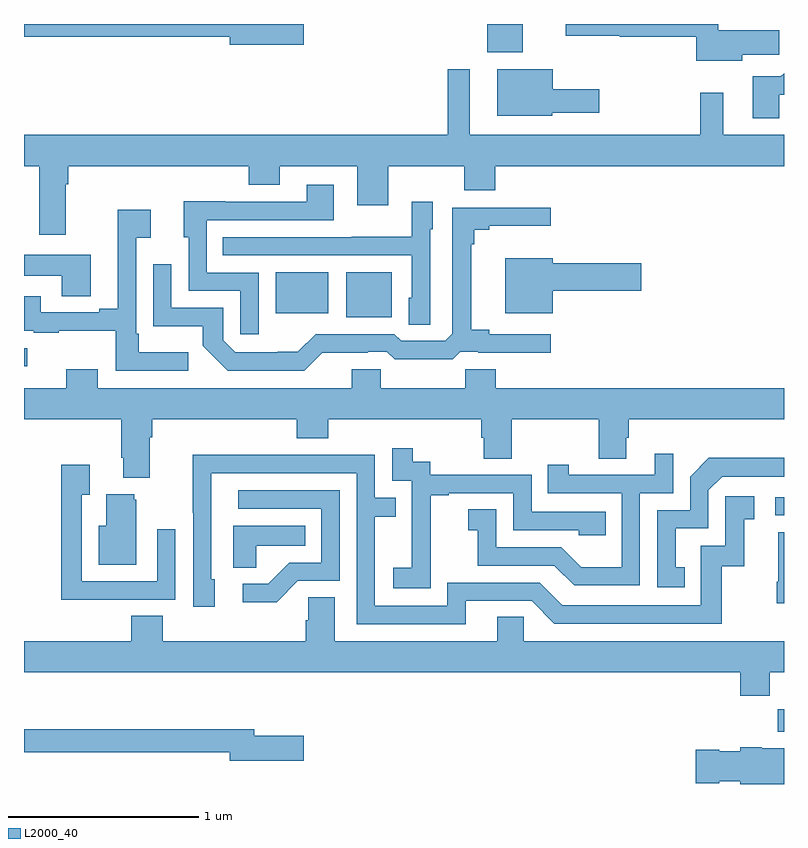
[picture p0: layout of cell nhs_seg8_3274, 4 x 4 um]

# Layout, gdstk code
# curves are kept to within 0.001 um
import gdstk
lib = gdstk.Library(unit=1e-6, precision=1e-09)
def R(c, l, rs):  # rectangles x0, y0, x1, y1
    for r in rs: c.add(gdstk.rectangle(r[:2], r[2:], *l))
def P(c, l, *ps):  # polygons
    for p in ps: c.add(gdstk.Polygon(p, *l))
L2000_40 = (2000, 40)

nhs_seg8_3274 = lib.new_cell('nhs_seg8_3274')
R(nhs_seg8_3274, L2000_40, [(316.966,1128.176,317,1128.294), (316.953,1129.314,317,1129.41), (313,1130.099,313.018,1130.193), (314.696,1130.357,314.935,1130.593), (314.324,1130.378,314.602,1130.593), (315.438,1131.752,315.624,1131.9)])
P(nhs_seg8_3274, L2000_40, [(316.78,1131.739),(316.975,1131.739),(316.975,1131.868),(316.654,1131.868),(316.654,1131.9),(315.852,1131.9),(315.852,1131.839),(316.136,1131.839),(316.136,1131.832),(316.537,1131.832),(316.537,1131.707),(316.78,1131.707)],
  [(314.473,1131.9),(313,1131.9),(313,1131.832),(314.084,1131.832),(314.084,1131.79),(314.473,1131.79)],
  [(313.219,1131.056),(313.232,1131.056),(313.232,1131.152),(314.183,1131.152),(314.183,1131.053),(314.347,1131.053),(314.347,1131.152),(314.753,1131.152),(314.753,1130.946),(314.917,1130.946),(314.917,1131.152),(315.317,1131.152),(315.317,1131.024),(315.481,1131.024),(315.481,1131.152),(317,1131.152),(317,1131.316),(316.681,1131.316),(316.681,1131.538),(316.56,1131.538),(316.56,1131.316),(315.346,1131.316),(315.346,1131.661),(315.229,1131.661),(315.229,1131.316),(313,1131.316),(313,1131.152),(313.079,1131.152),(313.079,1130.79),(313.219,1130.79)],
  [(315.78,1131.434),(316.027,1131.434),(316.027,1131.556),(315.784,1131.556),(315.784,1131.661),(315.491,1131.661),(315.491,1131.416),(315.78,1131.416)],
  [(316.975,1131.527),(317,1131.527),(317,1131.641),(316.984,1131.625),(316.835,1131.625),(316.835,1131.405),(316.975,1131.405)],
  [(314.235,1130.592),(313.962,1130.592),(313.962,1130.868),(314.629,1130.868),(314.629,1131.055),(314.489,1131.055),(314.489,1130.964),(314.059,1130.964),(314.059,1130.966),(313.841,1130.966),(313.841,1130.778),(313.866,1130.778),(313.866,1130.496),(314.139,1130.496),(314.139,1130.268),(314.235,1130.268)],
  [(315.138,1130.82),(315.151,1130.82),(315.151,1130.965),(315.042,1130.965),(315.042,1130.779),(314.725,1130.779),(314.725,1130.778),(314.047,1130.778),(314.047,1130.682),(315.042,1130.682),(315.042,1130.46),(315.026,1130.46),(315.026,1130.317),(315.138,1130.317)],
  [(314.57,1130.171),(314.81,1130.171),(314.81,1130.175),(314.91,1130.175),(314.95,1130.136),(315.257,1130.136),(315.297,1130.175),(315.391,1130.175),(315.391,1130.171),(315.772,1130.171),(315.772,1130.268),(315.448,1130.268),(315.448,1130.291),(315.353,1130.291),(315.353,1130.741),(315.371,1130.741),(315.371,1130.818),(315.448,1130.818),(315.448,1130.837),(315.772,1130.837),(315.772,1130.934),(315.255,1130.934),(315.255,1130.271),(315.216,1130.232),(314.985,1130.232),(314.949,1130.268),(314.535,1130.268),(314.441,1130.174),(314.336,1130.174),(314.336,1130.172),(314.112,1130.172),(314.049,1130.235),(314.049,1130.406),(313.776,1130.406),(313.776,1130.635),(313.68,1130.635),(313.68,1130.309),(313.942,1130.309),(313.942,1130.207),(314.072,1130.076),(314.475,1130.076)],
  [(313.864,1130.173),(313.603,1130.173),(313.603,1130.269),(313.59,1130.269),(313.59,1130.774),(313.666,1130.774),(313.666,1130.923),(313.493,1130.923),(313.493,1130.401),(313.397,1130.401),(313.397,1130.382),(313.087,1130.382),(313.087,1130.467),(313,1130.467),(313,1130.286),(313.051,1130.286),(313.051,1130.274),(313.183,1130.274),(313.183,1130.285),(313.482,1130.285),(313.482,1130.076),(313.864,1130.076)],
  [(313.351,1130.686),(313,1130.686),(313,1130.576),(313.199,1130.576),(313.199,1130.467),(313.351,1130.467)],
  [(315.784,1130.495),(316.249,1130.495),(316.249,1130.642),(315.784,1130.642),(315.784,1130.668),(315.533,1130.668),(315.533,1130.378),(315.784,1130.378)],
  [(313.223,1130.083),(313.223,1129.984),(313,1129.984),(313,1129.82),(313.511,1129.82),(313.511,1129.618),(313.523,1129.618),(313.523,1129.511),(313.663,1129.511),(313.663,1129.724),(313.676,1129.724),(313.676,1129.82),(314.435,1129.82),(314.435,1129.721),(314.6,1129.721),(314.6,1129.82),(315.407,1129.82),(315.407,1129.722),(315.419,1129.722),(315.419,1129.612),(315.567,1129.612),(315.567,1129.82),(316.024,1129.82),(316.024,1129.612),(316.171,1129.612),(316.171,1129.722),(316.184,1129.722),(316.184,1129.82),(317,1129.82),(317,1129.984),(315.482,1129.984),(315.482,1130.082),(315.322,1130.082),(315.322,1129.984),(314.877,1129.984),(314.877,1130.082),(314.726,1130.082),(314.726,1129.984),(313.387,1129.984),(313.387,1130.083)],
  [(315.141,1129.135),(315.14,1129.135),(315.14,1129.419),(315.235,1129.419),(315.235,1129.431),(315.576,1129.431),(315.576,1129.236),(315.921,1129.236),(315.921,1129.209),(316.061,1129.209),(316.061,1129.332),(315.672,1129.332),(315.672,1129.527),(315.138,1129.527),(315.138,1129.596),(315.046,1129.596),(315.046,1129.666),(314.937,1129.666),(314.937,1129.497),(315.042,1129.497),(315.042,1129.268),(315.041,1129.268),(315.041,1129.039),(314.943,1129.039),(314.943,1128.929),(315.141,1128.929)],
  [(316.242,1129.431),(316.416,1129.431),(316.416,1129.639),(316.319,1129.639),(316.319,1129.527),(315.868,1129.527),(315.868,1129.579),(315.757,1129.579),(315.757,1129.431),(316.146,1129.431),(316.146,1129.042),(315.932,1129.042),(315.828,1129.146),(315.486,1129.146),(315.486,1129.345),(315.339,1129.345),(315.339,1129.235),(315.388,1129.235),(315.388,1129.05),(315.791,1129.05),(315.896,1128.945),(316.242,1128.945)],
  [(315.325,1128.864),(315.672,1128.864),(315.792,1128.744),(316.672,1128.744),(316.672,1129.047),(316.79,1129.047),(316.79,1129.293),(316.843,1129.293),(316.843,1129.414),(316.692,1129.414),(316.692,1129.155),(316.563,1129.155),(316.563,1128.84),(315.834,1128.84),(315.714,1128.96),(315.228,1128.96),(315.228,1128.837),(314.847,1128.837),(314.847,1129.306),(314.957,1129.306),(314.957,1129.407),(314.847,1129.407),(314.847,1129.632),(314.351,1129.632),(314.351,1129.634),(313.888,1129.634),(313.888,1129.327),(313.89,1129.327),(313.89,1128.834),(314.005,1128.834),(314.005,1128.978),(313.986,1128.978),(313.986,1129.536),(314.751,1129.536),(314.751,1128.741),(315.325,1128.741)],
  [(316.478,1129.041),(316.429,1129.041),(316.429,1129.245),(316.602,1129.245),(316.602,1129.446),(316.674,1129.518),(317,1129.518),(317,1129.616),(316.604,1129.616),(316.506,1129.518),(316.506,1129.341),(316.332,1129.341),(316.332,1128.936),(316.478,1128.936)],
  [(313.481,1128.87),(313.797,1128.87),(313.797,1129.24),(313.701,1129.24),(313.701,1128.966),(313.305,1128.966),(313.305,1129.423),(313.345,1129.423),(313.345,1129.579),(313.197,1129.579),(313.197,1128.869),(313.481,1128.869)],
  [(314.442,1128.969),(314.661,1128.969),(314.661,1129.446),(314.127,1129.446),(314.127,1129.35),(314.565,1129.35),(314.565,1129.065),(314.396,1129.065),(314.285,1128.954),(314.151,1128.954),(314.151,1128.857),(314.329,1128.857)],
  [(313.591,1129.395),(313.58,1129.395),(313.58,1129.426),(313.433,1129.426),(313.433,1129.258),(313.394,1129.258),(313.394,1129.055),(313.591,1129.055)],
  [(314.223,1129.154),(314.48,1129.154),(314.48,1129.258),(314.102,1129.258),(314.102,1129.039),(314.223,1129.039)],
  [(317,1129.225),(316.97,1129.225),(316.97,1128.964),(316.963,1128.964),(316.963,1128.852),(317,1128.852)],
  [(316.925,1128.488),(317,1128.488),(317,1128.652),(315.63,1128.652),(315.63,1128.779),(315.491,1128.779),(315.491,1128.652),(314.635,1128.652),(314.635,1128.884),(314.496,1128.884),(314.496,1128.761),(314.483,1128.761),(314.483,1128.652),(313.73,1128.652),(313.73,1128.785),(313.565,1128.785),(313.565,1128.652),(313,1128.652),(313,1128.488),(316.769,1128.488),(316.769,1128.364),(316.925,1128.364)],
  [(314.473,1128.153),(314.212,1128.153),(314.212,1128.187),(313,1128.187),(313,1128.066),(314.084,1128.066),(314.084,1128.023),(314.473,1128.023)],
  [(317,1128.088),(316.884,1128.088),(316.884,1128.094),(316.77,1128.094),(316.77,1128.073),(316.659,1128.073),(316.659,1128.081),(316.536,1128.081),(316.536,1127.903),(316.659,1127.903),(316.659,1127.915),(316.77,1127.915),(316.77,1127.9),(317,1127.9)])

lib.write_gds('nhs_seg8_3274.gds')
